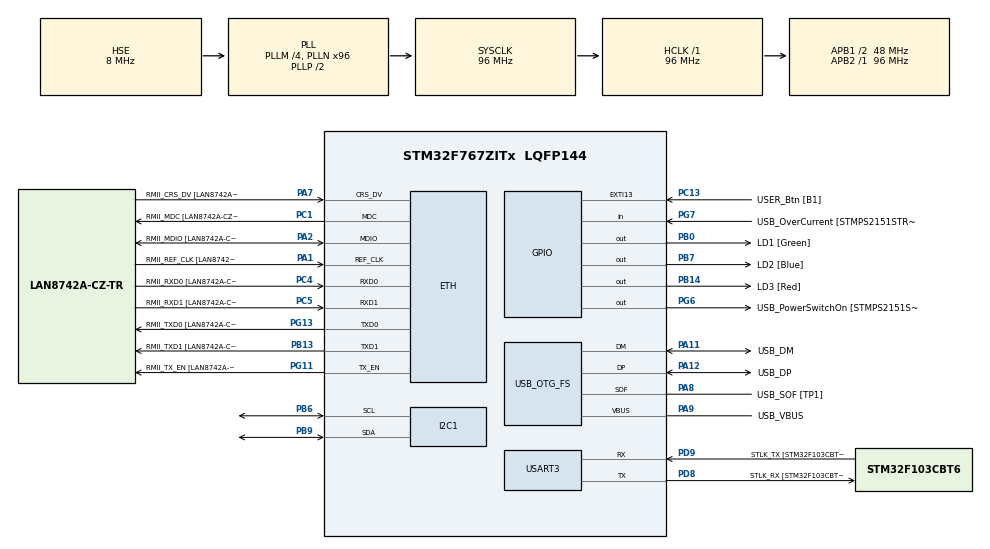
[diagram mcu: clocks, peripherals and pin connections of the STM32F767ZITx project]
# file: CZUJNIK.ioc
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ETH.MediaInterface=HAL_ETH_RMII_MODE
ETH.PHY_Name=LAN8742A_PHY_ADDRESS
ETH.PHY_Value=0
ETH.PhyAddress=0
I2C1.Timing=0x20303E5D
Mcu.Family=STM32F7
Mcu.Name=STM32F767ZITx
Mcu.Package=LQFP144
NVIC.PriorityGroup=NVIC_PRIORITYGROUP_4
PA1.GPIO_Label=RMII_REF_CLK [LAN8742A-CZ-TR_REFCLK0]
PA1.Mode=RMII
PA1.Signal=ETH_REF_CLK
PA10.GPIO_Label=USB_ID
PA10.Signal=USB_OTG_FS_ID
PA11.GPIO_Label=USB_DM
PA11.Mode=Device_Only
PA11.Signal=USB_OTG_FS_DM
PA12.GPIO_Label=USB_DP
PA12.Mode=Device_Only
PA12.Signal=USB_OTG_FS_DP
PA13.GPIO_Label=TMS
PA13.Mode=Serial_Wire
PA13.Signal=SYS_JTMS-SWDIO
PA14.GPIO_Label=TCK
PA14.Mode=Serial_Wire
PA14.Signal=SYS_JTCK-SWCLK
PA2.GPIO_Label=RMII_MDIO [LAN8742A-CZ-TR_MDIO]
PA2.Mode=RMII
PA2.Signal=ETH_MDIO
PA7.GPIO_Label=RMII_CRS_DV [LAN8742A-CZ-TR_CRS_DV]
PA7.Mode=RMII
PA7.Signal=ETH_CRS_DV
PA8.GPIO_Label=USB_SOF [TP1]
PA8.Mode=Activate_SOF_FS
PA8.Signal=USB_OTG_FS_SOF
PA9.GPIO_Label=USB_VBUS
PA9.Mode=Activate_VBUS
PA9.Signal=USB_OTG_FS_VBUS
PB0.GPIO_Label=LD1 [Green]
PB0.Signal=GPIO_Output
PB13.GPIO_Label=RMII_TXD1 [LAN8742A-CZ-TR_TXD1]
PB13.Mode=RMII
PB13.Signal=ETH_TXD1
PB14.GPIO_Label=LD3 [Red]
PB14.Signal=GPIO_Output
PB3.GPIO_Label=SWO
PB3.Signal=SYS_JTDO-SWO
PB6.Mode=I2C
PB6.Signal=I2C1_SCL
PB7.GPIO_Label=LD2 [Blue]
PB7.Signal=GPIO_Output
PB9.Mode=I2C
PB9.Signal=I2C1_SDA
PC1.GPIO_Label=RMII_MDC [LAN8742A-CZ-TR_MDC]
PC1.Mode=RMII
PC1.Signal=ETH_MDC
PC13.GPIO_Label=USER_Btn [B1]
PC13.Signal=GPXTI13
PC14/OSC32_IN.Mode=LSE-External-Oscillator
PC14/OSC32_IN.Signal=RCC_OSC32_IN
PC15/OSC32_OUT.Mode=LSE-External-Oscillator
PC15/OSC32_OUT.Signal=RCC_OSC32_OUT
PC4.GPIO_Label=RMII_RXD0 [LAN8742A-CZ-TR_RXD0]
PC4.Mode=RMII
PC4.Signal=ETH_RXD0
PC5.GPIO_Label=RMII_RXD1 [LAN8742A-CZ-TR_RXD1]
PC5.Mode=RMII
PC5.Signal=ETH_RXD1
PD8.GPIO_Label=STLK_RX [STM32F103CBT6_PA3]
PD8.Mode=Asynchronous
PD8.Signal=USART3_TX
PD9.GPIO_Label=STLK_TX [STM32F103CBT6_PA2]
PD9.Mode=Asynchronous
PD9.Signal=USART3_RX
PG11.GPIO_Label=RMII_TX_EN [LAN8742A-CZ-TR_TXEN]
PG11.Mode=RMII
PG11.Signal=ETH_TX_EN
PG13.GPIO_Label=RMII_TXD0 [LAN8742A-CZ-TR_TXD0]
PG13.Mode=RMII
PG13.Signal=ETH_TXD0
PG6.GPIO_Label=USB_PowerSwitchOn [STMPS2151STR_EN]
PG6.Signal=GPIO_Output
PG7.GPIO_Label=USB_OverCurrent [STMPS2151STR_FAULT]
PG7.Signal=GPIO_Input
PH0/OSC_IN.GPIO_Label=MCO [STM32F103CBT6_PA8]
PH0/OSC_IN.Mode=HSE-External-Clock-Source
PH0/OSC_IN.Signal=RCC_OSC_IN
PH1/OSC_OUT.Mode=HSE-External-Clock-Source
PH1/OSC_OUT.Signal=RCC_OSC_OUT
ProjectManager.HeapSize=0x200
ProjectManager.StackSize=0x400
ProjectManager.TargetToolchain=STM32CubeIDE
RCC.48MHZClocksFreq_Value=24000000
RCC.AHBFreq_Value=96000000
RCC.APB1CLKDivider=RCC_HCLK_DIV2
RCC.APB1Freq_Value=48000000
RCC.APB1TimFreq_Value=96000000
RCC.APB2Freq_Value=96000000
RCC.APB2TimFreq_Value=96000000
RCC.CortexFreq_Value=96000000
RCC.HCLKFreq_Value=96000000
RCC.HSE_VALUE=8000000
RCC.HSI_VALUE=16000000
RCC.PLLM=4
RCC.PLLMUL=RCC_PLL_MUL9
RCC.PLLN=96
RCC.PLLQ=4
RCC.PRESCALERUSB=RCC_USBCLKSOURCE_PLL_DIV1_5
RCC.SYSCLKFreq_VALUE=96000000
RCC.SYSCLKSource=RCC_SYSCLKSOURCE_PLLCLK
RCC.SYSCLKSourceVirtual=RCC_SYSCLKSOURCE_PLLCLK
RCC.USBFreq_Value=48000000
RCC.VCOOutputFreq_Value=192000000
USART3.VirtualMode-Asynchronous=VM_ASYNC
USB_OTG_FS.VirtualMode=Device_Only
board=NUCLEO-F767ZI

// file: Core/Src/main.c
/* USER CODE BEGIN Header */
/**
  ******************************************************************************
  * @file           : main.c
  * @brief          : Main program body
  ******************************************************************************
  * @attention
  *
  * Copyright (c) 2026 STMicroelectronics.
  * All rights reserved.
  *
  * This software is licensed under terms that can be found in the LICENSE file
  * in the root directory of this software component.
  * If no LICENSE file comes with this software, it is provided AS-IS.
  *
  ******************************************************************************
  */
/* USER CODE END Header */
#include "main.h"
#include "string.h"

/* USER CODE BEGIN Includes */
#include "VL53L0X.h"
#include "crc8.h"
#include <stdio.h>
#include <string.h>
/* USER CODE END Includes */

#if defined ( __ICCARM__ ) /*!< IAR Compiler */
#pragma location=0x2007c000
ETH_DMADescTypeDef  DMARxDscrTab[ETH_RX_DESC_CNT]; /* Ethernet Rx DMA Descriptors */
#pragma location=0x2007c0a0
ETH_DMADescTypeDef  DMATxDscrTab[ETH_TX_DESC_CNT]; /* Ethernet Tx DMA Descriptors */

#elif defined ( __CC_ARM )  /* MDK ARM Compiler */

__attribute__((at(0x2007c000))) ETH_DMADescTypeDef  DMARxDscrTab[ETH_RX_DESC_CNT]; /* Ethernet Rx DMA Descriptors */
__attribute__((at(0x2007c0a0))) ETH_DMADescTypeDef  DMATxDscrTab[ETH_TX_DESC_CNT]; /* Ethernet Tx DMA Descriptors */

#elif defined ( __GNUC__ ) /* GNU Compiler */

ETH_DMADescTypeDef DMARxDscrTab[ETH_RX_DESC_CNT] __attribute__((section(".RxDecripSection"))); /* Ethernet Rx DMA Descriptors */
ETH_DMADescTypeDef DMATxDscrTab[ETH_TX_DESC_CNT] __attribute__((section(".TxDecripSection")));   /* Ethernet Tx DMA Descriptors */
#endif

ETH_TxPacketConfig TxConfig;

ETH_HandleTypeDef heth;

I2C_HandleTypeDef hi2c1;

UART_HandleTypeDef huart3;

PCD_HandleTypeDef hpcd_USB_OTG_FS;

void SystemClock_Config(void);
static void MX_GPIO_Init(void);
static void MX_ETH_Init(void);
static void MX_USART3_UART_Init(void);
static void MX_USB_OTG_FS_PCD_Init(void);
static void MX_I2C1_Init(void);

int main(void)
{

  /* MCU Configuration--------------------------------------------------------*/

  /* Reset of all peripherals, Initializes the Flash interface and the Systick. */
  HAL_Init();

  /* Configure the system clock */
  SystemClock_Config();

  /* Initialize all configured peripherals */
  MX_GPIO_Init();
  MX_ETH_Init();
  MX_USART3_UART_Init();
  MX_USB_OTG_FS_PCD_Init();
  MX_I2C1_Init();
  /* USER CODE BEGIN 2 */
  // Bufor na wiadomości UART
  char msgBuffer[64];

  // Struktura na statystyki pomiaru
  statInfo_t_VL53L0X distanceStr;

  // Czekaj na ustabilizowanie zasilania
  HAL_Delay(1000);

  HAL_UART_Transmit(&huart3, (uint8_t*)"\r\n=== I2C Scanner ===\r\n", 23, 100);

  // I2C Scanner - sprawdź które urządzenia są na magistrali
  uint8_t devicesFound = 0;
  for (uint8_t addr = 1; addr < 128; addr++) {
      // Próba komunikacji z każdym adresem
      HAL_StatusTypeDef result = HAL_I2C_IsDeviceReady(&hi2c1, (addr << 1), 2, 10);
      if (result == HAL_OK) {
          sprintf(msgBuffer, "Found device at 0x%02X\r\n", addr);
          HAL_UART_Transmit(&huart3, (uint8_t*)msgBuffer, strlen(msgBuffer), 100);
          devicesFound++;
      }
  }

  if (devicesFound == 0) {
      HAL_UART_Transmit(&huart3, (uint8_t*)"No I2C devices found!\r\n", 23, 100);
  } else {
      sprintf(msgBuffer, "Total: %d device(s)\r\n", devicesFound);
      HAL_UART_Transmit(&huart3, (uint8_t*)msgBuffer, strlen(msgBuffer), 100);
  }

  HAL_UART_Transmit(&huart3, (uint8_t*)"====================\r\n\r\n", 24, 100);

  // Inicjalizacja czujnika VL53L0X
  HAL_UART_Transmit(&huart3, (uint8_t*)"Initializing VL53L0X...\r\n", 25, 100);

  if (!initVL53L0X(1, &hi2c1)) {
      HAL_UART_Transmit(&huart3, (uint8_t*)"VL53L0X Init FAILED!\r\n", 22, 100);
      // Zapal czerwoną LED (LD3) na stałe
      HAL_GPIO_WritePin(GPIOB, LD3_Pin, GPIO_PIN_SET);
  } else {
      HAL_UART_Transmit(&huart3, (uint8_t*)"VL53L0X Init OK!\r\n", 18, 100);
      // Mrugnij zieloną LED (LD1)
      HAL_GPIO_WritePin(GPIOB, LD1_Pin, GPIO_PIN_SET);
      HAL_Delay(200);
      HAL_GPIO_WritePin(GPIOB, LD1_Pin, GPIO_PIN_RESET);
  }

  // --- DOMYŚLNA KONFIGURACJA (działająca) ---
  // Używamy ustawień z initVL53L0X() bez zmian
  // Tylko timeout musi być ustawiony

  setTimeout(500);  // 500ms timeout

  // --- KONFIGURACJA FILTRA ---
  #define NOISE_THRESHOLD 2  // Ignoruj zmiany < 4mm (jitter)
  #define MAX_JUMP 20        // Ignoruj zmiany > 20mm (błędy/szpilki)

  uint16_t raw_dist = 0;
  uint16_t last_valid_distance = 125; // Start od środka

  /* USER CODE END 2 */

  /* Infinite loop */
  /* USER CODE BEGIN WHILE */
  while (1)
  {
    // Pojedynczy pomiar
    raw_dist = readRangeSingleMillimeters(&distanceStr);

    // --- HYBRYDOWY ŁAŃCUCH FILTRÓW ---
    // 1. Rate Limiter (Odsiewanie szpilek)
    // 2. Adaptive EMA (Dynamiczne wygładzanie)
    // 3. Deadband (Stabilizacja wyniku na końcu)

    static uint16_t last_valid_raw = 125;
    static float filtered_ema = 125.0f;
    static uint16_t final_output = 125;
    static int invalid_count = 0;

    int valid_update = 0; // Flaga czy mamy nową wartość do filtra

    if (raw_dist < 2000) {
        int diff = (int)raw_dist - (int)last_valid_raw;
        if (diff < 0) diff = -diff; // abs

        // 1. Rate Limiter
        if (diff <= MAX_JUMP) {
            last_valid_raw = raw_dist;
            invalid_count = 0;
            valid_update = 1;
        } else {
            invalid_count++;
            if (invalid_count > 5) { // Watchdog odblokowujący
                last_valid_raw = raw_dist;
                invalid_count = 0;
                valid_update = 1;
            }
        }
    }

    if (valid_update) {
        // 2. Adaptive EMA
        float raw_diff = (float)last_valid_raw - filtered_ema;
        if (raw_diff < 0) raw_diff = -raw_diff;

        float alpha;
        if (raw_diff < 10.0f) alpha = 0.3f;      // Silne wygładzanie (stabilność)
        else if (raw_diff > 20.0f) alpha = 0.8f;  // Szybka reakcja
        else alpha = 0.15f + ((raw_diff - 10.0f) / 30.0f) * 0.65f; // Interpolacja

        filtered_ema = (alpha * (float)last_valid_raw) + ((1.0f - alpha) * filtered_ema);

        // 3. Deadband (na wyjściu EMA)
        int out_diff = (int)filtered_ema - (int)final_output;
        if (out_diff < 0) out_diff = -out_diff;

        if (out_diff > NOISE_THRESHOLD) {
            final_output = (uint16_t)filtered_ema;
        }
    }
    // else: błąd sensora -> trzymamy starą wartość

    // Format kompatybilny z Python GUI:
    // D:Dist (surowy); F:Filtered (przefiltrowany); Z:Setpoint (tutaj = Dist)
    char data_buffer[64];
    int len = sprintf(data_buffer, "D:%d;Z:%d;A:100;F:%d;E:0;V:0;S:%d",
                      raw_dist, raw_dist, final_output, distanceStr.rangeStatus);

    // Oblicz prawdziwe CRC8
    uint8_t crc = CalculateCRC8(data_buffer, len);
    sprintf(msgBuffer, "%s;C:%02X\r\n", data_buffer, crc);

    // Wyślij przez UART
    HAL_UART_Transmit(&huart3, (uint8_t*)msgBuffer, strlen(msgBuffer), 50);

    // Migaj niebieską LED przy każdym odczycie
    HAL_GPIO_TogglePin(GPIOB, LD2_Pin);

    // Pauza 30ms między pomiarami (jak w oryginalnym projekcie)
    HAL_Delay(30);
    /* USER CODE END WHILE */

  }
}

void SystemClock_Config(void)
{
  RCC_OscInitTypeDef RCC_OscInitStruct = {0};
  RCC_ClkInitTypeDef RCC_ClkInitStruct = {0};

  /** Configure LSE Drive Capability
  */
  HAL_PWR_EnableBkUpAccess();

  /** Configure the main internal regulator output voltage
  */
  __HAL_RCC_PWR_CLK_ENABLE();
  __HAL_PWR_VOLTAGESCALING_CONFIG(PWR_REGULATOR_VOLTAGE_SCALE3);

  /** Initializes the RCC Oscillators according to the specified parameters
  * in the RCC_OscInitTypeDef structure.
  */
  RCC_OscInitStruct.OscillatorType = RCC_OSCILLATORTYPE_HSE;
  RCC_OscInitStruct.HSEState = RCC_HSE_BYPASS;
  RCC_OscInitStruct.PLL.PLLState = RCC_PLL_ON;
  RCC_OscInitStruct.PLL.PLLSource = RCC_PLLSOURCE_HSE;
  RCC_OscInitStruct.PLL.PLLM = 4;
  RCC_OscInitStruct.PLL.PLLN = 96;
  RCC_OscInitStruct.PLL.PLLP = RCC_PLLP_DIV2;
  RCC_OscInitStruct.PLL.PLLQ = 4;
  RCC_OscInitStruct.PLL.PLLR = 2;
  if (HAL_RCC_OscConfig(&RCC_OscInitStruct) != HAL_OK)
  {
    Error_Handler();
  }

  /** Activate the Over-Drive mode
  */
  if (HAL_PWREx_EnableOverDrive() != HAL_OK)
  {
    Error_Handler();
  }

  /** Initializes the CPU, AHB and APB buses clocks
  */
  RCC_ClkInitStruct.ClockType = RCC_CLOCKTYPE_HCLK|RCC_CLOCKTYPE_SYSCLK
                              |RCC_CLOCKTYPE_PCLK1|RCC_CLOCKTYPE_PCLK2;
  RCC_ClkInitStruct.SYSCLKSource = RCC_SYSCLKSOURCE_PLLCLK;
  RCC_ClkInitStruct.AHBCLKDivider = RCC_SYSCLK_DIV1;
  RCC_ClkInitStruct.APB1CLKDivider = RCC_HCLK_DIV2;
  RCC_ClkInitStruct.APB2CLKDivider = RCC_HCLK_DIV1;

  if (HAL_RCC_ClockConfig(&RCC_ClkInitStruct, FLASH_LATENCY_3) != HAL_OK)
  {
    Error_Handler();
  }
}

static void MX_ETH_Init(void)
{

   static uint8_t MACAddr[6];

  heth.Instance = ETH;
  MACAddr[0] = 0x00;
  MACAddr[1] = 0x80;
  MACAddr[2] = 0xE1;
  MACAddr[3] = 0x00;
  MACAddr[4] = 0x00;
  MACAddr[5] = 0x00;
  heth.Init.MACAddr = &MACAddr[0];
  heth.Init.MediaInterface = HAL_ETH_RMII_MODE;
  heth.Init.TxDesc = DMATxDscrTab;
  heth.Init.RxDesc = DMARxDscrTab;
  heth.Init.RxBuffLen = 1524;

  if (HAL_ETH_Init(&heth) != HAL_OK)
  {
    Error_Handler();
  }

  memset(&TxConfig, 0 , sizeof(ETH_TxPacketConfig));
  TxConfig.Attributes = ETH_TX_PACKETS_FEATURES_CSUM | ETH_TX_PACKETS_FEATURES_CRCPAD;
  TxConfig.ChecksumCtrl = ETH_CHECKSUM_IPHDR_PAYLOAD_INSERT_PHDR_CALC;
  TxConfig.CRCPadCtrl = ETH_CRC_PAD_INSERT;

}

static void MX_I2C1_Init(void)
{

  hi2c1.Instance = I2C1;
  hi2c1.Init.Timing = 0x20303E5D;
  hi2c1.Init.OwnAddress1 = 0;
  hi2c1.Init.AddressingMode = I2C_ADDRESSINGMODE_7BIT;
  hi2c1.Init.DualAddressMode = I2C_DUALADDRESS_DISABLE;
  hi2c1.Init.OwnAddress2 = 0;
  hi2c1.Init.OwnAddress2Masks = I2C_OA2_NOMASK;
  hi2c1.Init.GeneralCallMode = I2C_GENERALCALL_DISABLE;
  hi2c1.Init.NoStretchMode = I2C_NOSTRETCH_DISABLE;
  if (HAL_I2C_Init(&hi2c1) != HAL_OK)
  {
    Error_Handler();
  }

  /** Configure Analogue filter
  */
  if (HAL_I2CEx_ConfigAnalogFilter(&hi2c1, I2C_ANALOGFILTER_ENABLE) != HAL_OK)
  {
    Error_Handler();
  }

  /** Configure Digital filter
  */
  if (HAL_I2CEx_ConfigDigitalFilter(&hi2c1, 0) != HAL_OK)
  {
    Error_Handler();
  }

}

static void MX_USART3_UART_Init(void)
{

  huart3.Instance = USART3;
  huart3.Init.BaudRate = 115200;
  huart3.Init.WordLength = UART_WORDLENGTH_8B;
  huart3.Init.StopBits = UART_STOPBITS_1;
  huart3.Init.Parity = UART_PARITY_NONE;
  huart3.Init.Mode = UART_MODE_TX_RX;
  huart3.Init.HwFlowCtl = UART_HWCONTROL_NONE;
  huart3.Init.OverSampling = UART_OVERSAMPLING_16;
  huart3.Init.OneBitSampling = UART_ONE_BIT_SAMPLE_DISABLE;
  huart3.AdvancedInit.AdvFeatureInit = UART_ADVFEATURE_NO_INIT;
  if (HAL_UART_Init(&huart3) != HAL_OK)
  {
    Error_Handler();
  }

}

static void MX_USB_OTG_FS_PCD_Init(void)
{

  hpcd_USB_OTG_FS.Instance = USB_OTG_FS;
  hpcd_USB_OTG_FS.Init.dev_endpoints = 6;
  hpcd_USB_OTG_FS.Init.speed = PCD_SPEED_FULL;
  hpcd_USB_OTG_FS.Init.dma_enable = DISABLE;
  hpcd_USB_OTG_FS.Init.phy_itface = PCD_PHY_EMBEDDED;
  hpcd_USB_OTG_FS.Init.Sof_enable = ENABLE;
  hpcd_USB_OTG_FS.Init.low_power_enable = DISABLE;
  hpcd_USB_OTG_FS.Init.lpm_enable = DISABLE;
  hpcd_USB_OTG_FS.Init.vbus_sensing_enable = ENABLE;
  hpcd_USB_OTG_FS.Init.use_dedicated_ep1 = DISABLE;
  if (HAL_PCD_Init(&hpcd_USB_OTG_FS) != HAL_OK)
  {
    Error_Handler();
  }

}

static void MX_GPIO_Init(void)
{
  GPIO_InitTypeDef GPIO_InitStruct = {0};

  /* GPIO Ports Clock Enable */
  __HAL_RCC_GPIOC_CLK_ENABLE();
  __HAL_RCC_GPIOH_CLK_ENABLE();
  __HAL_RCC_GPIOA_CLK_ENABLE();
  __HAL_RCC_GPIOB_CLK_ENABLE();
  __HAL_RCC_GPIOD_CLK_ENABLE();
  __HAL_RCC_GPIOG_CLK_ENABLE();

  /*Configure GPIO pin Output Level */
  HAL_GPIO_WritePin(GPIOB, LD1_Pin|LD3_Pin|LD2_Pin, GPIO_PIN_RESET);

  /*Configure GPIO pin Output Level */
  HAL_GPIO_WritePin(USB_PowerSwitchOn_GPIO_Port, USB_PowerSwitchOn_Pin, GPIO_PIN_RESET);

  /*Configure GPIO pin : USER_Btn_Pin */
  GPIO_InitStruct.Pin = USER_Btn_Pin;
  GPIO_InitStruct.Mode = GPIO_MODE_IT_RISING;
  GPIO_InitStruct.Pull = GPIO_NOPULL;
  HAL_GPIO_Init(USER_Btn_GPIO_Port, &GPIO_InitStruct);

  /*Configure GPIO pins : LD1_Pin LD3_Pin LD2_Pin */
  GPIO_InitStruct.Pin = LD1_Pin|LD3_Pin|LD2_Pin;
  GPIO_InitStruct.Mode = GPIO_MODE_OUTPUT_PP;
  GPIO_InitStruct.Pull = GPIO_NOPULL;
  GPIO_InitStruct.Speed = GPIO_SPEED_FREQ_LOW;
  HAL_GPIO_Init(GPIOB, &GPIO_InitStruct);

  /*Configure GPIO pin : USB_PowerSwitchOn_Pin */
  GPIO_InitStruct.Pin = USB_PowerSwitchOn_Pin;
  GPIO_InitStruct.Mode = GPIO_MODE_OUTPUT_PP;
  GPIO_InitStruct.Pull = GPIO_NOPULL;
  GPIO_InitStruct.Speed = GPIO_SPEED_FREQ_LOW;
  HAL_GPIO_Init(USB_PowerSwitchOn_GPIO_Port, &GPIO_InitStruct);

  /*Configure GPIO pin : USB_OverCurrent_Pin */
  GPIO_InitStruct.Pin = USB_OverCurrent_Pin;
  GPIO_InitStruct.Mode = GPIO_MODE_INPUT;
  GPIO_InitStruct.Pull = GPIO_NOPULL;
  HAL_GPIO_Init(USB_OverCurrent_GPIO_Port, &GPIO_InitStruct);

}

void Error_Handler(void)
{
  __disable_irq();
  while (1)
  {
  }
}
